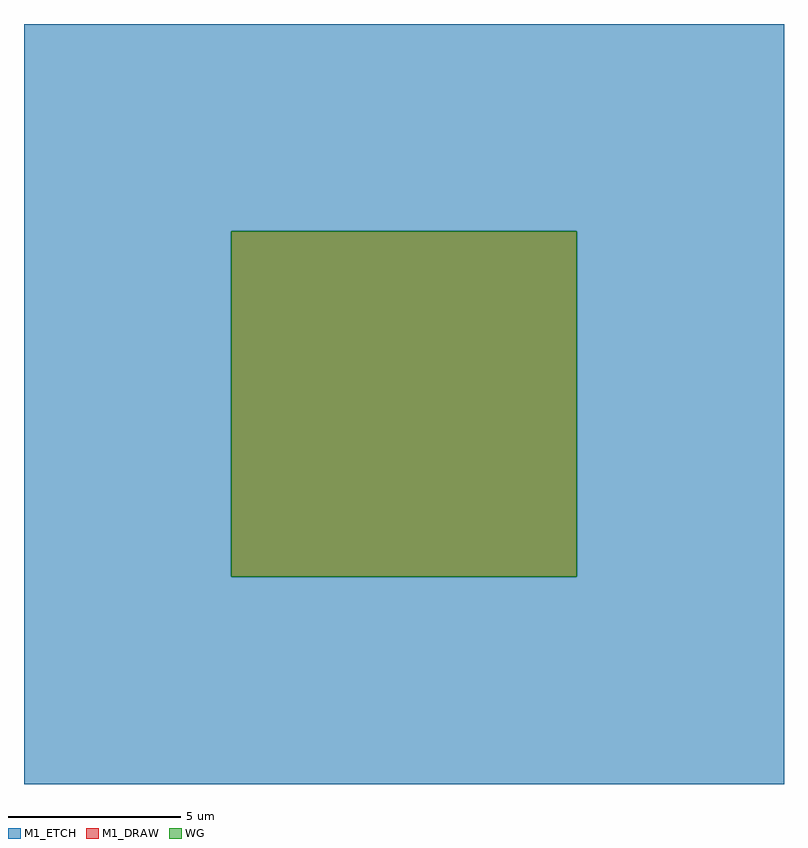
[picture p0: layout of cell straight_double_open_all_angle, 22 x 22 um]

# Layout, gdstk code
import gdstk
lib = gdstk.Library(unit=1e-6, precision=1e-09)
def R(c, l, rs):  # rectangles x0, y0, x1, y1
    for r in rs: c.add(gdstk.rectangle(r[:2], r[2:], *l))
M1_DRAW = (1, 0)
M1_ETCH = (1, 1)
WG = (102, 0)

straight_all_angle_cscop = lib.new_cell('straight_all_angle_CScoplanar_waveguide')
R(straight_all_angle_cscop, M1_DRAW, [(0,-5,10,5)])
R(straight_all_angle_cscop, M1_ETCH, [(0,-11,10,-5), (0,5,10,11)])
R(straight_all_angle_cscop, WG, [(0,-5,10,5)])

rectangle_s6_22_lm1_etch = lib.new_cell('rectangle_S6_22_LM1_ETCH_CTrue_PTelectrical_PO180_90_0_m90')
R(rectangle_s6_22_lm1_etch, M1_ETCH, [(-3,-11,3,11)])

straight_double_open_all = lib.new_cell('straight_double_open_all_angle')
R(straight_double_open_all, M1_ETCH, [(-6,-11,0,11)])
straight_double_open_all.add(gdstk.Reference(straight_all_angle_cscop, (0,0)))
straight_double_open_all.add(gdstk.Reference(rectangle_s6_22_lm1_etch, (13,0)))

lib.write_gds('straight_double_open_all_angle.gds')
